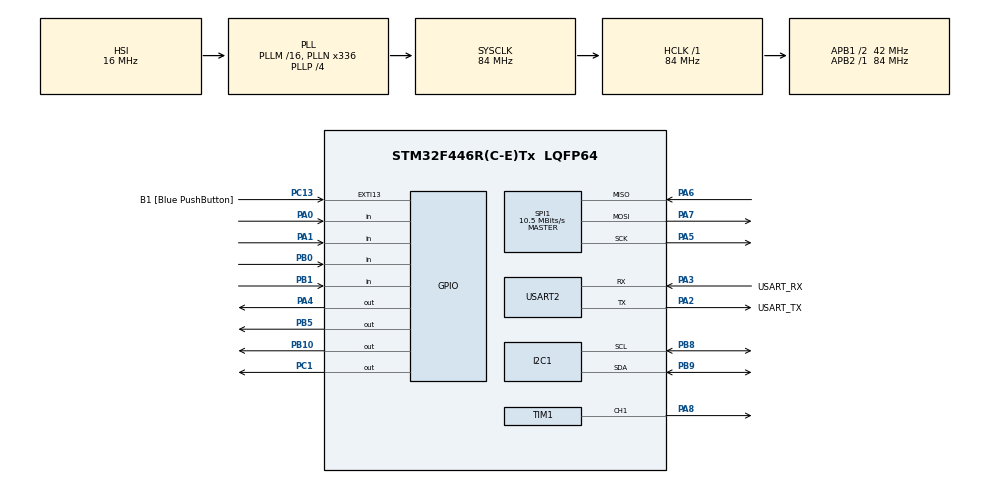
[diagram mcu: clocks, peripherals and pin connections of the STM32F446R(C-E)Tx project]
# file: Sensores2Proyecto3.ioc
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Dma.Request0=TIM1_CH1
Dma.TIM1_CH1.0.Direction=DMA_MEMORY_TO_PERIPH
Dma.TIM1_CH1.0.FIFOMode=DMA_FIFOMODE_DISABLE
Dma.TIM1_CH1.0.Instance=DMA2_Stream1
Dma.TIM1_CH1.0.MemDataAlignment=DMA_MDATAALIGN_HALFWORD
Dma.TIM1_CH1.0.MemInc=DMA_MINC_ENABLE
Dma.TIM1_CH1.0.Mode=DMA_NORMAL
Dma.TIM1_CH1.0.PeriphDataAlignment=DMA_PDATAALIGN_HALFWORD
Dma.TIM1_CH1.0.PeriphInc=DMA_PINC_DISABLE
Dma.TIM1_CH1.0.Priority=DMA_PRIORITY_LOW
I2C1.OwnAddress=16
Mcu.Family=STM32F4
Mcu.Name=STM32F446R(C-E)Tx
Mcu.Package=LQFP64
NVIC.DMA2_Stream1_IRQn=true\:0\:0\:false\:false\:true\:false\:true\:true
NVIC.PriorityGroup=NVIC_PRIORITYGROUP_0
PA0-WKUP.Signal=GPIO_Input
PA1.Signal=GPIO_Input
PA13.GPIO_Label=TMS
PA13.Mode=Serial_Wire
PA13.Signal=SYS_JTMS-SWDIO
PA14.GPIO_Label=TCK
PA14.Mode=Serial_Wire
PA14.Signal=SYS_JTCK-SWCLK
PA2.GPIO_Label=USART_TX
PA2.Mode=Asynchronous
PA2.Signal=USART2_TX
PA3.GPIO_Label=USART_RX
PA3.Mode=Asynchronous
PA3.Signal=USART2_RX
PA4.Signal=GPIO_Output
PA5.Mode=Full_Duplex_Master
PA5.Signal=SPI1_SCK
PA6.Mode=Full_Duplex_Master
PA6.Signal=SPI1_MISO
PA7.Mode=Full_Duplex_Master
PA7.Signal=SPI1_MOSI
PA8.Signal=S_TIM1_CH1
PB0.Signal=GPIO_Input
PB1.Signal=GPIO_Input
PB10.Signal=GPIO_Output
PB3.GPIO_Label=SWO
PB3.Signal=SYS_JTDO-SWO
PB5.Signal=GPIO_Output
PB8.Mode=I2C
PB8.Signal=I2C1_SCL
PB9.Mode=I2C
PB9.Signal=I2C1_SDA
PC1.Signal=GPIO_Output
PC13.GPIO_Label=B1 [Blue PushButton]
PC13.GPIO_ModeDefaultEXTI=GPIO_MODE_IT_FALLING
PC13.Signal=GPXTI13
PC14-OSC32_IN.Signal=RCC_OSC32_IN
PC15-OSC32_OUT.Signal=RCC_OSC32_OUT
PH0-OSC_IN.Signal=RCC_OSC_IN
PH1-OSC_OUT.Signal=RCC_OSC_OUT
ProjectManager.HeapSize=0x200
ProjectManager.StackSize=0x400
ProjectManager.TargetToolchain=STM32CubeIDE
RCC.AHBFreq_Value=84000000
RCC.APB1CLKDivider=RCC_HCLK_DIV2
RCC.APB1Freq_Value=42000000
RCC.APB1TimFreq_Value=84000000
RCC.APB2Freq_Value=84000000
RCC.APB2TimFreq_Value=84000000
RCC.CortexFreq_Value=84000000
RCC.FLatency-AdvancedSettings=FLASH_LATENCY_2
RCC.HCLKFreq_Value=84000000
RCC.HSE_VALUE=8000000
RCC.HSI_VALUE=16000000
RCC.LSE_VALUE=32768
RCC.PLLN=336
RCC.PLLP=RCC_PLLP_DIV4
RCC.SYSCLKFreq_VALUE=84000000
RCC.SYSCLKSource=RCC_SYSCLKSOURCE_PLLCLK
RCC.USBFreq_Value=168000000
RCC.VCOOutputFreq_Value=336000000
SH.S_TIM1_CH1.0=TIM1_CH1,PWM Generation1 CH1
SPI1.BaudRatePrescaler=SPI_BAUDRATEPRESCALER_8
SPI1.CalculateBaudRate=10.5 MBits/s
SPI1.Direction=SPI_DIRECTION_2LINES
SPI1.Mode=SPI_MODE_MASTER
SPI1.VirtualType=VM_MASTER
TIM1.Channel-PWM\ Generation1\ CH1=TIM_CHANNEL_1
TIM1.Period=104
USART2.VirtualMode=VM_ASYNC
board=NUCLEO-F446RE

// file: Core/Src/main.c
/* USER CODE BEGIN Header */
/**
  ******************************************************************************
  * @file           : main.c
  * @brief          : Main program body
  ******************************************************************************
  * @attention
  *
  * Copyright (c) 2026 STMicroelectronics.
  * All rights reserved.
  *
  * This software is licensed under terms that can be found in the LICENSE file
  * in the root directory of this software component.
  * If no LICENSE file comes with this software, it is provided AS-IS.
  *
  ******************************************************************************
  */
/* USER CODE END Header */
#include "main.h"

/* USER CODE BEGIN Includes */
#include "ili9341.h"
#include "bitmaps.h"
#include <stdint.h>
#include <stdio.h>
#include <string.h>
#include "ws2812.h"
char buffer_uart[50];
extern const uint16_t parqueo_base[];
/* USER CODE END Includes */

/* USER CODE BEGIN PD */
#define LED_0 33   // ~0.4 us
#define LED_1 66   // ~0.8 us
/* USER CODE END PD */

I2C_HandleTypeDef hi2c1;

SPI_HandleTypeDef hspi1;

TIM_HandleTypeDef htim1;
DMA_HandleTypeDef hdma_tim1_ch1;

UART_HandleTypeDef huart2;

/* USER CODE BEGIN PV */
uint8_t parqueo1;
uint8_t parqueo2;
uint8_t parqueo3;
uint8_t parqueo4;
uint8_t parqueo5;
uint8_t parqueo6;
uint8_t parqueo7;
uint8_t parqueo8;
uint8_t datos_rx[5];
uint8_t disponibles;
uint8_t datos_esp[9];
HAL_StatusTypeDef estado_i2c;

/* USER CODE END PV */

void SystemClock_Config(void);
static void MX_GPIO_Init(void);
static void MX_DMA_Init(void);
static void MX_I2C1_Init(void);
static void MX_SPI1_Init(void);
static void MX_TIM1_Init(void);
static void MX_USART2_UART_Init(void);

int main(void)
{

  /* MCU Configuration--------------------------------------------------------*/

  /* Reset of all peripherals, Initializes the Flash interface and the Systick. */
  HAL_Init();

  /* Configure the system clock */
  SystemClock_Config();

  /* Initialize all configured peripherals */
  MX_GPIO_Init();
  MX_DMA_Init();
  MX_I2C1_Init();
  MX_SPI1_Init();
  MX_TIM1_Init();

  MX_USART2_UART_Init();
  /* USER CODE BEGIN 2 */

  //__HAL_TIM_SET_COMPARE(&htim1, TIM_CHANNEL_1, 52);
  LCD_Init();

  LCD_Clear(0x8410); // Gris

  /* Jardin central */
  FillRect(30,100,260,40,0x07E0);

  /* Parqueos superiores */
  Rect(40,20,50,70,0xFFFF);
  Rect(90,20,50,70,0xFFFF);
  Rect(140,20,50,70,0xFFFF);
  Rect(190,20,50,70,0xFFFF);

  /* Parqueos inferiores */
  Rect(40,150,50,70,0xFFFF);
  Rect(90,150,50,70,0xFFFF);
  Rect(140,150,50,70,0xFFFF);
  Rect(190,150,50,70,0xFFFF);

  /* Titulo */
  LCD_Print("PARQUEOS",85,5,2,0xFFFF,0x8410);
  /* USER CODE END 2 */

  /* Infinite loop */
  /* USER CODE BEGIN WHILE */
  while (1)
  {
	  parqueo1 = HAL_GPIO_ReadPin(GPIOA, GPIO_PIN_0);
	  parqueo2 = HAL_GPIO_ReadPin(GPIOA, GPIO_PIN_1);
	  parqueo3 = HAL_GPIO_ReadPin(GPIOB, GPIO_PIN_0);
	  parqueo4 = HAL_GPIO_ReadPin(GPIOB, GPIO_PIN_1);

	  parqueo5 = 0;
	  parqueo6 = 0;
	  parqueo7 = 0;
 	  parqueo8 = 0;
 	 if(parqueo1)
 	     Set_LED(0,0,255,0);   // Verde
 	 else
 	     Set_LED(0,255,0,0);   // Rojo

 	 if(parqueo2)
 	     Set_LED(1,0,255,0);
 	 else
 	     Set_LED(1,255,0,0);

 	 if(parqueo3)
 	     Set_LED(2,0,255,0);
 	 else
 	     Set_LED(2,255,0,0);

 	 if(parqueo4)
 	     Set_LED(3,0,255,0);
 	 else
 	     Set_LED(3,255,0,0);
	  WS2812_Send();
	      //HAL_GPIO_TogglePin(GPIOB, GPIO_PIN_10); // CS
	      HAL_Delay(100);

	      /*
	      estado_i2c = HAL_I2C_Master_Receive(
	          &hi2c1,
	          24 << 1,
	          datos_rx,
	          5,
	          100);

	      parqueo5 = datos_rx[0];
	      parqueo6 = datos_rx[1];
	      parqueo7 = datos_rx[2];
	      parqueo8 = datos_rx[3];
	      disponibles = datos_rx[4];
/*
	      sprintf(buffer_uart,
	              "%d,%d,%d,%d,%d,%d,%d,%d,%d\r\n",
	              parqueo1,
	              parqueo2,
	              parqueo3,
	              parqueo4,
	              parqueo5,
	              parqueo6,
	              parqueo7,
	              parqueo8,
	              disponibles);
	      HAL_UART_Transmit(&huart2,
	                        (uint8_t*)buffer_uart,
	                        strlen(buffer_uart),
	                        100);
	      datos_esp[0] = parqueo1;
	      datos_esp[1] = parqueo2;
	      datos_esp[2] = parqueo3;
	      datos_esp[3] = parqueo4;
	      datos_esp[4] = parqueo5;
	      datos_esp[5] = parqueo6;
	      datos_esp[6] = parqueo7;
	      datos_esp[7] = parqueo8;
	      datos_esp[8] = disponibles;

	      HAL_StatusTypeDef estadoESP;

	      estadoESP = HAL_I2C_Master_Transmit(
	                      &hi2c1,
	                      0x20 << 1,
	                      datos_esp,
	                      9,
	                      100);
	      if(estadoESP != HAL_OK)
	      {
	          FillRect(260,20,20,20,0xF800); // rojo
	      }
	      else
	      {
	          FillRect(260,20,20,20,0x07E0); // verde
	      }
	      */
	      FillRect(55,45,20,20, parqueo1 ? 0x07E0 : 0xF800);
	      FillRect(105,45,20,20, parqueo2 ? 0x07E0 : 0xF800);
	      FillRect(155,45,20,20, parqueo3 ? 0x07E0 : 0xF800);
	      FillRect(205,45,20,20, parqueo4 ? 0x07E0 : 0xF800);

	      FillRect(55,175,20,20, parqueo5 ? 0x07E0 : 0xF800);
	      FillRect(105,175,20,20, parqueo6 ? 0x07E0 : 0xF800);
	      FillRect(155,175,20,20, parqueo7 ? 0x07E0 : 0xF800);
	      FillRect(205,175,20,20, parqueo8 ? 0x07E0 : 0xF800);
	      /*
	      datos_esp[0] = parqueo1;
	      datos_esp[1] = parqueo2;
	      datos_esp[2] = parqueo3;
	      datos_esp[3] = parqueo4;
	      datos_esp[4] = parqueo5;
	      datos_esp[5] = parqueo6;
	      datos_esp[6] = parqueo7;
	      datos_esp[7] = parqueo8;
	      datos_esp[8] = disponibles;
	      */

	      HAL_Delay(200);
    /* USER CODE END WHILE */

  }
}

void SystemClock_Config(void)
{
  RCC_OscInitTypeDef RCC_OscInitStruct = {0};
  RCC_ClkInitTypeDef RCC_ClkInitStruct = {0};

  /** Configure the main internal regulator output voltage
  */
  __HAL_RCC_PWR_CLK_ENABLE();
  __HAL_PWR_VOLTAGESCALING_CONFIG(PWR_REGULATOR_VOLTAGE_SCALE3);

  /** Initializes the RCC Oscillators according to the specified parameters
  * in the RCC_OscInitTypeDef structure.
  */
  RCC_OscInitStruct.OscillatorType = RCC_OSCILLATORTYPE_HSI;
  RCC_OscInitStruct.HSIState = RCC_HSI_ON;
  RCC_OscInitStruct.HSICalibrationValue = RCC_HSICALIBRATION_DEFAULT;
  RCC_OscInitStruct.PLL.PLLState = RCC_PLL_ON;
  RCC_OscInitStruct.PLL.PLLSource = RCC_PLLSOURCE_HSI;
  RCC_OscInitStruct.PLL.PLLM = 16;
  RCC_OscInitStruct.PLL.PLLN = 336;
  RCC_OscInitStruct.PLL.PLLP = RCC_PLLP_DIV4;
  RCC_OscInitStruct.PLL.PLLQ = 2;
  RCC_OscInitStruct.PLL.PLLR = 2;
  if (HAL_RCC_OscConfig(&RCC_OscInitStruct) != HAL_OK)
  {
    Error_Handler();
  }

  /** Initializes the CPU, AHB and APB buses clocks
  */
  RCC_ClkInitStruct.ClockType = RCC_CLOCKTYPE_HCLK|RCC_CLOCKTYPE_SYSCLK
                              |RCC_CLOCKTYPE_PCLK1|RCC_CLOCKTYPE_PCLK2;
  RCC_ClkInitStruct.SYSCLKSource = RCC_SYSCLKSOURCE_PLLCLK;
  RCC_ClkInitStruct.AHBCLKDivider = RCC_SYSCLK_DIV1;
  RCC_ClkInitStruct.APB1CLKDivider = RCC_HCLK_DIV2;
  RCC_ClkInitStruct.APB2CLKDivider = RCC_HCLK_DIV1;

  if (HAL_RCC_ClockConfig(&RCC_ClkInitStruct, FLASH_LATENCY_2) != HAL_OK)
  {
    Error_Handler();
  }
}

static void MX_I2C1_Init(void)
{

  hi2c1.Instance = I2C1;
  hi2c1.Init.ClockSpeed = 100000;
  hi2c1.Init.DutyCycle = I2C_DUTYCYCLE_2;
  hi2c1.Init.OwnAddress1 = 32;
  hi2c1.Init.AddressingMode = I2C_ADDRESSINGMODE_7BIT;
  hi2c1.Init.DualAddressMode = I2C_DUALADDRESS_DISABLE;
  hi2c1.Init.OwnAddress2 = 0;
  hi2c1.Init.GeneralCallMode = I2C_GENERALCALL_DISABLE;
  hi2c1.Init.NoStretchMode = I2C_NOSTRETCH_DISABLE;
  if (HAL_I2C_Init(&hi2c1) != HAL_OK)
  {
    Error_Handler();
  }

}

static void MX_SPI1_Init(void)
{

  /* SPI1 parameter configuration*/
  hspi1.Instance = SPI1;
  hspi1.Init.Mode = SPI_MODE_MASTER;
  hspi1.Init.Direction = SPI_DIRECTION_2LINES;
  hspi1.Init.DataSize = SPI_DATASIZE_8BIT;
  hspi1.Init.CLKPolarity = SPI_POLARITY_LOW;
  hspi1.Init.CLKPhase = SPI_PHASE_1EDGE;
  hspi1.Init.NSS = SPI_NSS_SOFT;
  hspi1.Init.BaudRatePrescaler = SPI_BAUDRATEPRESCALER_8;
  hspi1.Init.FirstBit = SPI_FIRSTBIT_MSB;
  hspi1.Init.TIMode = SPI_TIMODE_DISABLE;
  hspi1.Init.CRCCalculation = SPI_CRCCALCULATION_DISABLE;
  hspi1.Init.CRCPolynomial = 10;
  if (HAL_SPI_Init(&hspi1) != HAL_OK)
  {
    Error_Handler();
  }

}

static void MX_TIM1_Init(void)
{

  TIM_MasterConfigTypeDef sMasterConfig = {0};
  TIM_OC_InitTypeDef sConfigOC = {0};
  TIM_BreakDeadTimeConfigTypeDef sBreakDeadTimeConfig = {0};

  htim1.Instance = TIM1;
  htim1.Init.Prescaler = 0;
  htim1.Init.CounterMode = TIM_COUNTERMODE_UP;
  htim1.Init.Period = 104;
  htim1.Init.ClockDivision = TIM_CLOCKDIVISION_DIV1;
  htim1.Init.RepetitionCounter = 0;
  htim1.Init.AutoReloadPreload = TIM_AUTORELOAD_PRELOAD_DISABLE;
  if (HAL_TIM_PWM_Init(&htim1) != HAL_OK)
  {
    Error_Handler();
  }
  sMasterConfig.MasterOutputTrigger = TIM_TRGO_RESET;
  sMasterConfig.MasterSlaveMode = TIM_MASTERSLAVEMODE_DISABLE;
  if (HAL_TIMEx_MasterConfigSynchronization(&htim1, &sMasterConfig) != HAL_OK)
  {
    Error_Handler();
  }
  sConfigOC.OCMode = TIM_OCMODE_PWM1;
  sConfigOC.Pulse = 0;
  sConfigOC.OCPolarity = TIM_OCPOLARITY_HIGH;
  sConfigOC.OCNPolarity = TIM_OCNPOLARITY_HIGH;
  sConfigOC.OCFastMode = TIM_OCFAST_DISABLE;
  sConfigOC.OCIdleState = TIM_OCIDLESTATE_RESET;
  sConfigOC.OCNIdleState = TIM_OCNIDLESTATE_RESET;
  if (HAL_TIM_PWM_ConfigChannel(&htim1, &sConfigOC, TIM_CHANNEL_1) != HAL_OK)
  {
    Error_Handler();
  }
  sBreakDeadTimeConfig.OffStateRunMode = TIM_OSSR_DISABLE;
  sBreakDeadTimeConfig.OffStateIDLEMode = TIM_OSSI_DISABLE;
  sBreakDeadTimeConfig.LockLevel = TIM_LOCKLEVEL_OFF;
  sBreakDeadTimeConfig.DeadTime = 0;
  sBreakDeadTimeConfig.BreakState = TIM_BREAK_DISABLE;
  sBreakDeadTimeConfig.BreakPolarity = TIM_BREAKPOLARITY_HIGH;
  sBreakDeadTimeConfig.AutomaticOutput = TIM_AUTOMATICOUTPUT_DISABLE;
  if (HAL_TIMEx_ConfigBreakDeadTime(&htim1, &sBreakDeadTimeConfig) != HAL_OK)
  {
    Error_Handler();
  }
  HAL_TIM_MspPostInit(&htim1);

}

static void MX_USART2_UART_Init(void)
{

  huart2.Instance = USART2;
  huart2.Init.BaudRate = 115200;
  huart2.Init.WordLength = UART_WORDLENGTH_8B;
  huart2.Init.StopBits = UART_STOPBITS_1;
  huart2.Init.Parity = UART_PARITY_NONE;
  huart2.Init.Mode = UART_MODE_TX_RX;
  huart2.Init.HwFlowCtl = UART_HWCONTROL_NONE;
  huart2.Init.OverSampling = UART_OVERSAMPLING_16;
  if (HAL_UART_Init(&huart2) != HAL_OK)
  {
    Error_Handler();
  }

}

static void MX_DMA_Init(void)
{

  /* DMA controller clock enable */
  __HAL_RCC_DMA2_CLK_ENABLE();

  /* DMA interrupt init */
  /* DMA2_Stream1_IRQn interrupt configuration */
  HAL_NVIC_SetPriority(DMA2_Stream1_IRQn, 0, 0);
  HAL_NVIC_EnableIRQ(DMA2_Stream1_IRQn);

}

static void MX_GPIO_Init(void)
{
  GPIO_InitTypeDef GPIO_InitStruct = {0};

  /* GPIO Ports Clock Enable */
  __HAL_RCC_GPIOC_CLK_ENABLE();
  __HAL_RCC_GPIOH_CLK_ENABLE();
  __HAL_RCC_GPIOA_CLK_ENABLE();
  __HAL_RCC_GPIOB_CLK_ENABLE();

  /*Configure GPIO pin Output Level */
  HAL_GPIO_WritePin(GPIOC, GPIO_PIN_1, GPIO_PIN_RESET);

  /*Configure GPIO pin Output Level */
  HAL_GPIO_WritePin(GPIOA, GPIO_PIN_4, GPIO_PIN_RESET);

  /*Configure GPIO pin Output Level */
  HAL_GPIO_WritePin(GPIOB, GPIO_PIN_10|GPIO_PIN_5, GPIO_PIN_RESET);

  /*Configure GPIO pin : B1_Pin */
  GPIO_InitStruct.Pin = B1_Pin;
  GPIO_InitStruct.Mode = GPIO_MODE_IT_FALLING;
  GPIO_InitStruct.Pull = GPIO_NOPULL;
  HAL_GPIO_Init(B1_GPIO_Port, &GPIO_InitStruct);

  /*Configure GPIO pin : PC1 */
  GPIO_InitStruct.Pin = GPIO_PIN_1;
  GPIO_InitStruct.Mode = GPIO_MODE_OUTPUT_PP;
  GPIO_InitStruct.Pull = GPIO_NOPULL;
  GPIO_InitStruct.Speed = GPIO_SPEED_FREQ_LOW;
  HAL_GPIO_Init(GPIOC, &GPIO_InitStruct);

  /*Configure GPIO pins : PA0 PA1 */
  GPIO_InitStruct.Pin = GPIO_PIN_0|GPIO_PIN_1;
  GPIO_InitStruct.Mode = GPIO_MODE_INPUT;
  GPIO_InitStruct.Pull = GPIO_NOPULL;
  HAL_GPIO_Init(GPIOA, &GPIO_InitStruct);

  /*Configure GPIO pin : PA4 */
  GPIO_InitStruct.Pin = GPIO_PIN_4;
  GPIO_InitStruct.Mode = GPIO_MODE_OUTPUT_PP;
  GPIO_InitStruct.Pull = GPIO_NOPULL;
  GPIO_InitStruct.Speed = GPIO_SPEED_FREQ_LOW;
  HAL_GPIO_Init(GPIOA, &GPIO_InitStruct);

  /*Configure GPIO pins : PB0 PB1 */
  GPIO_InitStruct.Pin = GPIO_PIN_0|GPIO_PIN_1;
  GPIO_InitStruct.Mode = GPIO_MODE_INPUT;
  GPIO_InitStruct.Pull = GPIO_NOPULL;
  HAL_GPIO_Init(GPIOB, &GPIO_InitStruct);

  /*Configure GPIO pins : PB10 PB5 */
  GPIO_InitStruct.Pin = GPIO_PIN_10|GPIO_PIN_5;
  GPIO_InitStruct.Mode = GPIO_MODE_OUTPUT_PP;
  GPIO_InitStruct.Pull = GPIO_NOPULL;
  GPIO_InitStruct.Speed = GPIO_SPEED_FREQ_LOW;
  HAL_GPIO_Init(GPIOB, &GPIO_InitStruct);

}

void Error_Handler(void)
{
  __disable_irq();
  while (1)
  {
  }
}
